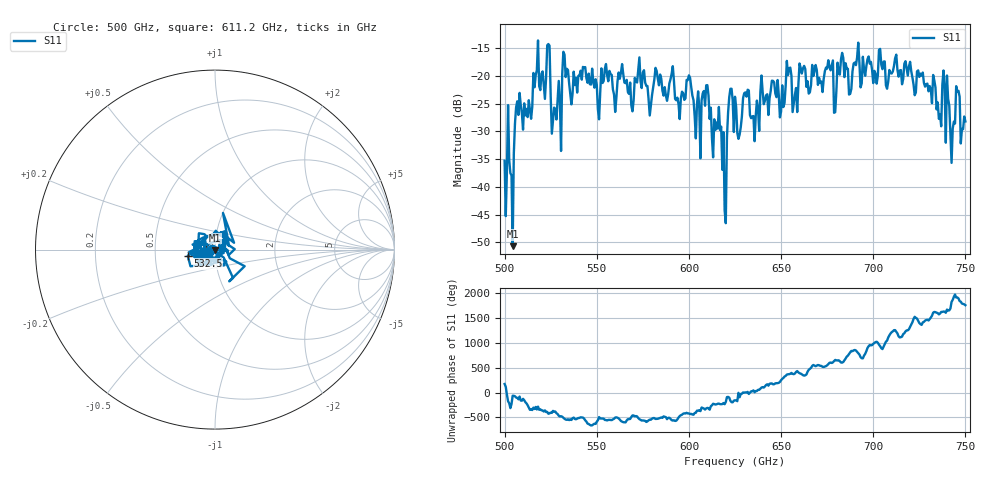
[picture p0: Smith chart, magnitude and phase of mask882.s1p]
!Created with skrf (http://scikit-rf.org).
# GHz S MA R 50.0
!freq magS11 angS11
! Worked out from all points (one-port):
!   401 points, 500 GHz to 750 GHz, reference 50 ohm
!   lowest |S11| = -50.7 dB at 504.4 GHz (marker M1), VSWR 1.01, Z = 50.1 - j0.26 ohm
!   |S11| at or under -10 dB: start of sweep to end of sweep
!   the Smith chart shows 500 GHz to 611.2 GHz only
!   S11 on the Smith chart (normalised r, x): 500 GHz: 0.97, +0.00; 532.5 GHz: 0.73, -0.05; 611.2 GHz: 1.08, +0.02
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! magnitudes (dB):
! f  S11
! 500 GHz  -35.3
! 504.4 GHz  -50.7
! 506.9 GHz  -24.6
! 513.8 GHz  -26.2
! 516.9 GHz  -19.8
! 523.8 GHz  -14.2
! 526.9 GHz  -25.7
! 531.2 GHz  -19.7
! 532.5 GHz  -16.2
! 550.6 GHz  -26.0
! 562.5 GHz  -20.5
! 590.6 GHz  -19.6
! 593.8 GHz  -23.9
! 600 GHz  -19.9
! 605 GHz  -22.8
! 611.2 GHz  -27.7
! 616.2 GHz  -25.6
! 619.4 GHz  -44.2
! 622.5 GHz  -22.3
! 625 GHz  -23.7
! 656.2 GHz  -26.5
! 687.5 GHz  -23.2
! 718.8 GHz  -19.9
! 735.6 GHz  -27.7
! 738.8 GHz  -22.1
! 743.1 GHz  -29.5
! 745.6 GHz  -22.8
! 750 GHz  -28.2
